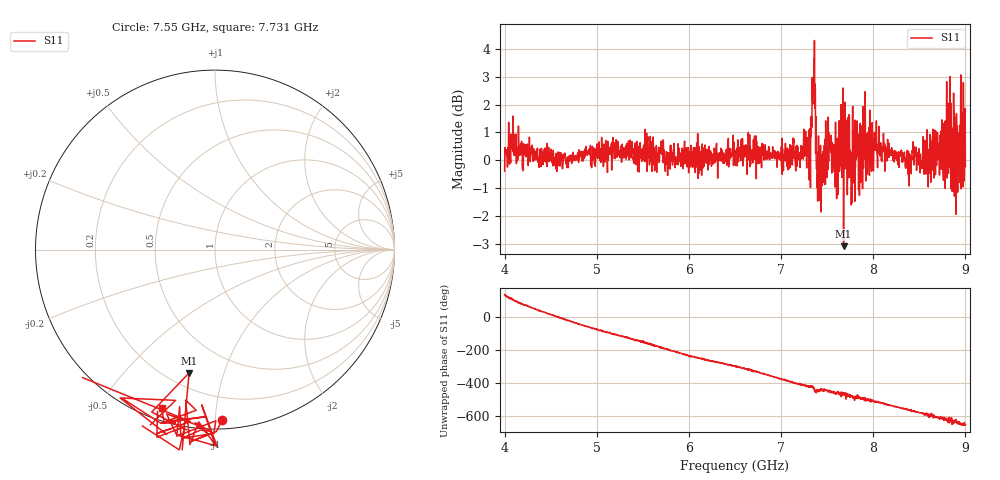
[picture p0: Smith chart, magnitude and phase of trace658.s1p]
! Created with skrf 1.8.0 (http://scikit-rf.org).
# Hz S RI R 50.0
!freq ReS11 ImS11
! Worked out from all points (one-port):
!   1601 points, 4 GHz to 9 GHz, reference 50 ohm
!   lowest |S11| = -3.1 dB at 7.678 GHz (marker M1), VSWR 5.72, Z = 14.2 - j38.6 ohm
!   |S11| at or under -10 dB: nowhere
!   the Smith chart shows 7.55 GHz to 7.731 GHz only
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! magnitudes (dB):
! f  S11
! 4 GHz  -0.4
! 4.1 GHz  0.2
! 4.625 GHz  -0.3
! 5.25 GHz  0.1
! 5.875 GHz  0.0
! 6.5 GHz  0.3
! 7.125 GHz  0.5
! 7.294 GHz  0.3
! 7.347 GHz  2.6
! 7.362 GHz  4.3
! 7.409 GHz  -0.1
! 7.441 GHz  0.2
! 7.509 GHz  -0.3
! 7.603 GHz  -1.4
! 7.65 GHz  2.0
! 7.678 GHz  -3.1
! 7.75 GHz  -0.6
! 7.775 GHz  1.9
! 7.928 GHz  0.9
! 8.375 GHz  -0.1
! 8.441 GHz  0.2
! 8.612 GHz  0.5
! 8.656 GHz  0.6
! 8.766 GHz  1.3
! 8.816 GHz  -0.5
! 8.875 GHz  0.7
! 8.972 GHz  0.6
! 9 GHz  -0.2
